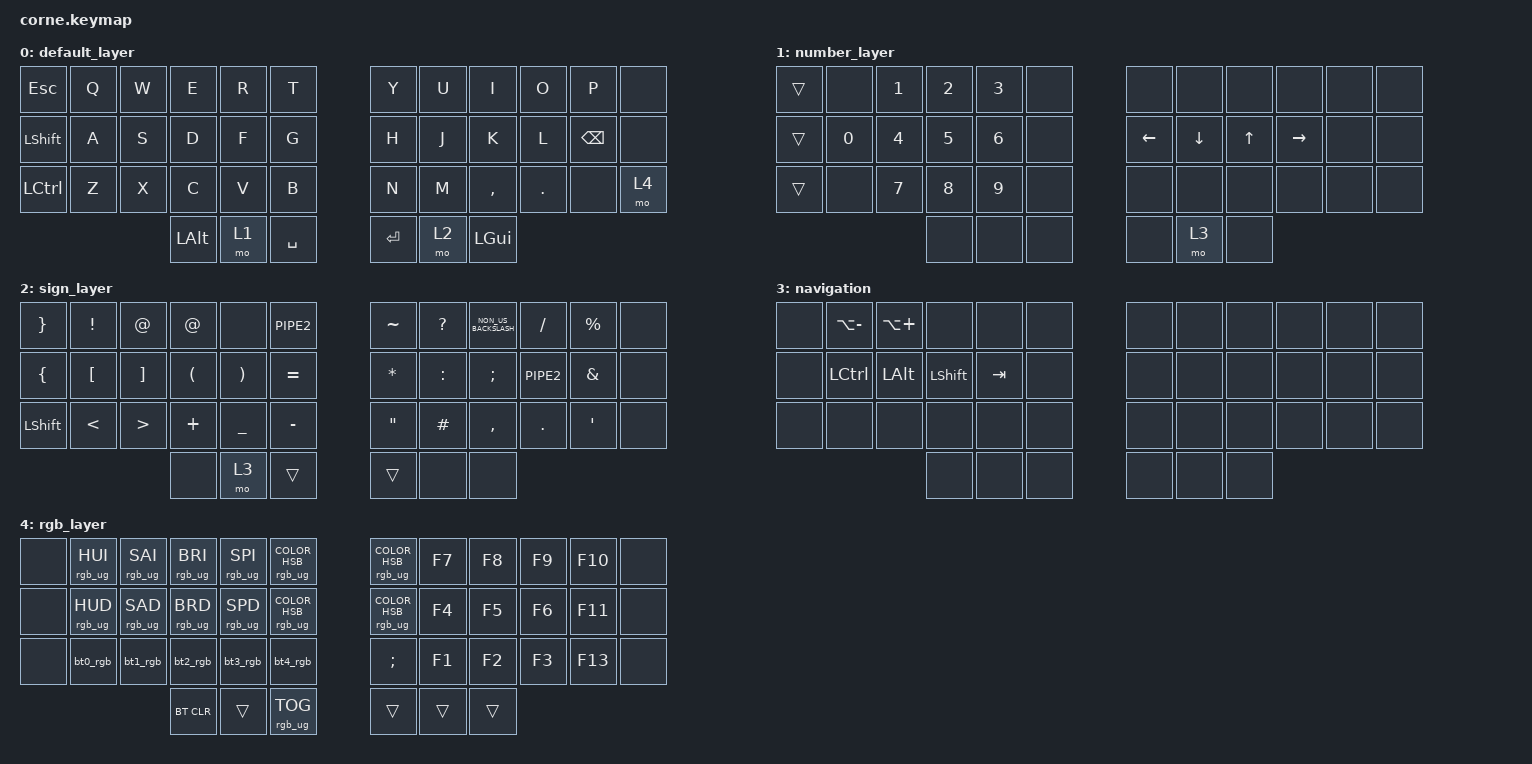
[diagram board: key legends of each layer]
/*
 * Copyright (c) 2020 The ZMK Contributors
 *
 * SPDX-License-Identifier: MIT
 */

#include <behaviors.dtsi>
#include <dt-bindings/zmk/bt.h>
#include <dt-bindings/zmk/keys.h>
#include <dt-bindings/zmk/rgb.h>

&nice_view_spi { cs-gpios = <&pro_micro 8 GPIO_ACTIVE_HIGH>; };

&led_strip { chain-length = <27>; };

/ {
    combos {
        compatible = "zmk,combos";

        combo_esc {
            timeout-ms = <50>;
            key-positions = <19 20>;
            bindings = <&kp ESC>;
        };

        compatible = "zmk,combos";
        compatible = "zmk,combos";
        compatible = "zmk,combos";
        compatible = "zmk,combos";
        compatible = "zmk,combos";
        compatible = "zmk,combos";
        compatible = "zmk,combos";
        compatible = "zmk,combos";
        compatible = "zmk,combos";
        compatible = "zmk,combos";
    };
};

/ {
    behaviors {
        hold_tap {
            tapping-term-ms = <300>;     // Ajusta el tiempo global (ms)
            flavor = "tap-preferred";    // "balanced" o "hold-preferred"
            // hold-trigger-on-release;  // Opcional: mejora detección de taps
            // retro-tap;                // Opcional: suelta y decide tap si no chordeaste
        };

        bt0_rgb: behavior_bt0_rgb {
            compatible = "zmk,behavior-macro";
            label = "BT0_RGB";
            #binding-cells = <0>;
            bindings = <&bt BT_SEL 0 &rgb_ug RGB_COLOR_HSB(300,100,5)>;
        };

        bt1_rgb: behavior_bt1_rgb {
            compatible = "zmk,behavior-macro";
            label = "BT1_RGB";
            #binding-cells = <0>;
            bindings = <&bt BT_SEL 1 &rgb_ug RGB_COLOR_HSB(180,100,5)>;
        };

        bt2_rgb: behavior_bt2_rgb {
            compatible = "zmk,behavior-macro";
            label = "BT2_RGB";
            #binding-cells = <0>;
            bindings = <&bt BT_SEL 2 &rgb_ug RGB_COLOR_HSB(0,100,5)>;
        };

        bt3_rgb: behavior_bt3_rgb {
            compatible = "zmk,behavior-macro";
            label = "BT3_RGB";
            #binding-cells = <0>;
            bindings = <&bt BT_SEL 3 &rgb_ug RGB_COLOR_HSB(120,100,5)>;
        };

        bt4_rgb: behavior_bt4_rgb {
            compatible = "zmk,behavior-macro";
            label = "BT4_RGB";
            #binding-cells = <0>;
            bindings = <&bt BT_SEL 4 &rgb_ug RGB_COLOR_HSB(45,100,5)>;
        };
    };
};

/ {
    macros {
    };

    keymap {
        compatible = "zmk,keymap";

        default_layer {
            // -----------------------------------------------------------------------------------------
            // |   0  |  1  |  2  |  3  |  4  |  5  |   |  6  |  7   |  8  |  9  |  10 | 11 | 
            // |  12  | 13  | 14  | 15  |  16 |  17 |   | 18  |  19  |  20 |  21 | 22  | 23 |
            // |  24  | 25  | 26  | 27  |  28 |  29 |   | 30  |  31  |  32 |  33 | 34  | 35 |
            //                    | 36  | 37  | 38  |   | 39  |  40  |  41 |
            // -----------------------------------------------------------------------------------------
            // |      |  Q  |  W  |  E  |  R  |  T  |   |  Y  |  U   |  I  |  O  |  P  |    |
            // |      |  A  |  S  |  D  |  F  |  G  |   |  H  |  J   |  K  |  L  | ´   |    |
            // |      |  Z  |  X  |  C  |  V  |  B  |   |  N  |  M   |  ,  |  .  | SHFT |    |
            //         SHFT         | SHFT| LWR | CTRL |   | SPAC | RSE  | ALT |
            //  0

            bindings = <
&kp ESCAPE  &kp Q  &kp W  &kp E     &kp R  &kp T        &kp Y      &kp U  &kp I      &kp O       &kp P          &none
&kp LSHIFT  &kp A  &kp S  &kp D     &kp F  &kp G        &kp H      &kp J  &kp K      &kp L       &kp BACKSPACE  &none
&kp LCTRL   &kp Z  &kp X  &kp C     &kp V  &kp B        &kp N      &kp M  &kp COMMA  &kp PERIOD  &none          &mo 4
                          &kp LALT  &mo 1  &kp SPACE    &kp ENTER  &mo 2  &kp LGUI
            >;
        };

        number_layer {
            // -----------------------------------------------------------------------------------------
            // |      | \ |  (  |  )  |  %  |  "  |   |  ,  |  7  |  8  |  9  | BKSP|      |
            // |      | * |  +  |  -  |  &  |  '  |   |  .  |  4  |  5  |  6  |  /  |      |
            // |      | z |  >  |  _  |  $  |  @  |   |  0  |  1  |  2  |  3  |  =  |      |
            //                    |     |     |CTRL |   | ENT |     | ALT | 
            // 1

            bindings = <
&trans  &none   &kp NUMBER_1  &kp NUMBER_2  &kp N3        &none    &none           &none           &none         &none      &none  &none
&trans  &kp N0  &kp NUMBER_4  &kp N5        &kp NUMBER_6  &none    &kp LEFT_ARROW  &kp DOWN_ARROW  &kp UP_ARROW  &kp RIGHT  &none  &none
&trans  &none   &kp N7        &kp N8        &kp N9        &none    &none           &none           &none         &none      &none  &none
                              &none         &none         &none    &none           &mo 3           &none
            >;
        };

        sign_layer {
            // -----------------------------------------------------------------------------------------
            // |     |     |    |     |     |  ª  |     | [  |  ]  |  {   |  }    | PSCR  |    |
            // |     |     |    |     |     |  º  |     | ¿  |  ?  |  #   |  UP   |       |    |
            // |     |     |    |     |  #  |  ~  |     |  ¡ |  !  | LEFT | DOWN  | RIGHT |    |
            //             |    |     |     |     |     |    | ALT |
            // 2

            bindings = <
&kp RIGHT_BRACE  &kp EXCLAMATION   &kp AT_SIGN        &kp AT_SIGN           &none                  &kp PIPE2    &kp TILDE          &kp QUESTION  &kp NON_US_BACKSLASH  &kp SLASH   &kp PERCENT       &none
&kp LEFT_BRACE   &kp LEFT_BRACKET  &kp RIGHT_BRACKET  &kp LEFT_PARENTHESIS  &kp RIGHT_PARENTHESIS  &kp EQUAL    &kp ASTERISK       &kp COLON     &kp SEMICOLON         &kp PIPE2   &kp AMPERSAND     &none
&kp LSHIFT       &kp LESS_THAN     &kp GREATER_THAN   &kp PLUS              &kp UNDERSCORE         &kp MINUS    &kp DOUBLE_QUOTES  &kp HASH      &kp COMMA             &kp PERIOD  &kp SINGLE_QUOTE  &none
                                                      &none                 &mo 3                  &trans       &trans             &none         &none
            >;
        };

        navigation {
            bindings = <
&none  &kp LA(MINUS)  &kp LA(PLUS)  &none       &none    &none    &none  &none  &none  &none  &none  &none
&none  &kp LCTRL      &kp LEFT_ALT  &kp LSHIFT  &kp TAB  &none    &none  &none  &none  &none  &none  &none
&none  &none          &none         &none       &none    &none    &none  &none  &none  &none  &none  &none
                                    &none       &none    &none    &none  &none  &none
            >;
        };

        rgb_layer {
            // -----------------------------------------------------------------------------------------
            // | F1  | Tono+ |  Satura+ | Brillo+ |    |      |     |   |  F7  |  F8  |  F9  | F10  |    |
            // | F7  | Tono- |  Satura- | Brillo- |    |      |     |   |  F4  |  F5  |  F6  | F11  |    |
            // |     | BT1   |   BT2    | BT3     |BT4  | BT5 |     | ñ |  F1  |  F2  |  F3  | F12  |    |
            //                          |BTCLR    |     |     |     |   |      |      |
            // 3

            bindings = <
&none  &rgb_ug RGB_HUI  &rgb_ug RGB_SAI  &rgb_ug RGB_BRI  &rgb_ug RGB_SPI  &rgb_ug RGB_COLOR_HSB(180,100,5)    &rgb_ug RGB_COLOR_HSB(180,100,2)  &kp F7  &kp F8  &kp F9  &kp F10  &none
&none  &rgb_ug RGB_HUD  &rgb_ug RGB_SAD  &rgb_ug RGB_BRD  &rgb_ug RGB_SPD  &rgb_ug RGB_COLOR_HSB(300,100,5)    &rgb_ug RGB_COLOR_HSB(300,100,2)  &kp F4  &kp F5  &kp F6  &kp F11  &none
&none  &bt0_rgb         &bt1_rgb         &bt2_rgb         &bt3_rgb         &bt4_rgb                            &kp SEMI                          &kp F1  &kp F2  &kp F3  &kp F13  &none
                                         &bt BT_CLR       &trans           &rgb_ug RGB_TOG                     &trans                            &trans  &trans
            >;
        };
    };
};
